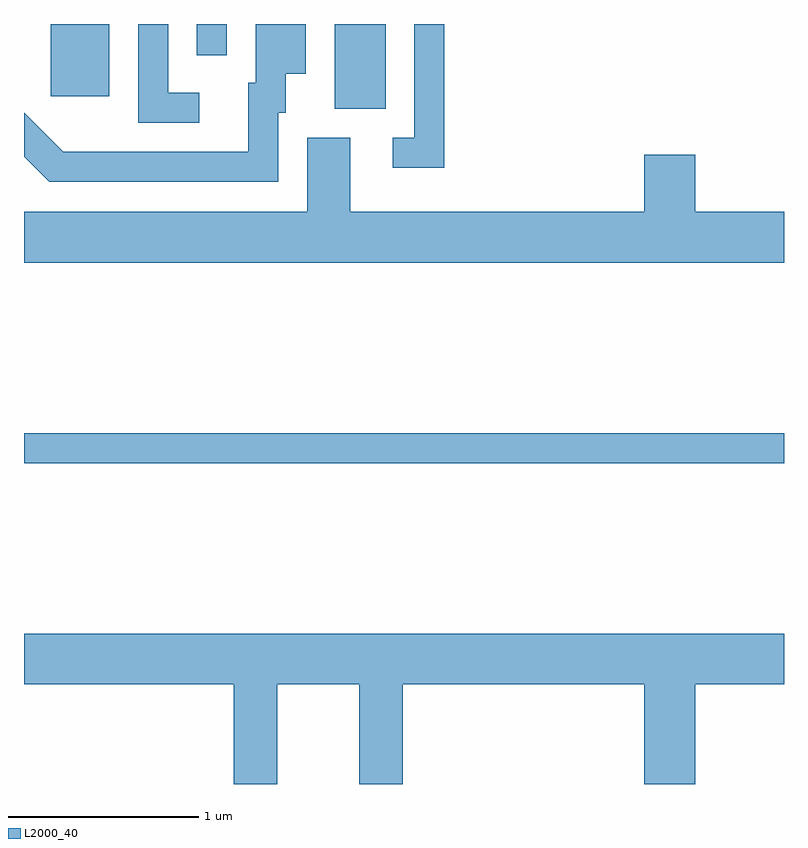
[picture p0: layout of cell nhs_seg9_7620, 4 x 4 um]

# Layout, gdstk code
import gdstk
lib = gdstk.Library(unit=1e-6, precision=1e-09)
def R(c, l, rs):  # rectangles x0, y0, x1, y1
    for r in rs: c.add(gdstk.rectangle(r[:2], r[2:], *l))
def P(c, l, *ps):  # polygons
    for p in ps: c.add(gdstk.Polygon(p, *l))
L2000_40 = (2000, 40)

nhs_seg9_7620 = lib.new_cell('nhs_seg9_7620')
R(nhs_seg9_7620, L2000_40, [(411.611,1964.121,415.611,1964.279), (413.246,1965.986,413.514,1966.432), (411.751,1966.051,412.059,1966.432), (412.521,1966.268,412.679,1966.432)])
P(nhs_seg9_7620, L2000_40, [(412.533,1966.069),(412.369,1966.069),(412.369,1966.432),(412.211,1966.432),(412.211,1965.911),(412.533,1965.911)],
  [(412.949,1965.966),(412.989,1965.966),(412.989,1966.171),(413.094,1966.171),(413.094,1966.432),(412.831,1966.432),(412.831,1966.124),(412.791,1966.124),(412.791,1965.759),(411.817,1965.759),(411.611,1965.965),(411.611,1965.734),(411.744,1965.601),(412.949,1965.601)],
  [(413.824,1966.432),(413.666,1966.432),(413.666,1965.834),(413.553,1965.834),(413.553,1965.676),(413.824,1965.676)],
  [(415.611,1965.444),(415.144,1965.444),(415.144,1965.744),(414.876,1965.744),(414.876,1965.444),(413.329,1965.444),(413.329,1965.834),(413.101,1965.834),(413.101,1965.444),(411.611,1965.444),(411.611,1965.176),(415.611,1965.176)],
  [(412.944,1962.956),(413.376,1962.956),(413.376,1962.432),(413.604,1962.432),(413.604,1962.956),(414.876,1962.956),(414.876,1962.432),(415.144,1962.432),(415.144,1962.956),(415.611,1962.956),(415.611,1963.224),(411.611,1963.224),(411.611,1962.956),(412.716,1962.956),(412.716,1962.432),(412.944,1962.432)])

lib.write_gds('nhs_seg9_7620.gds')
